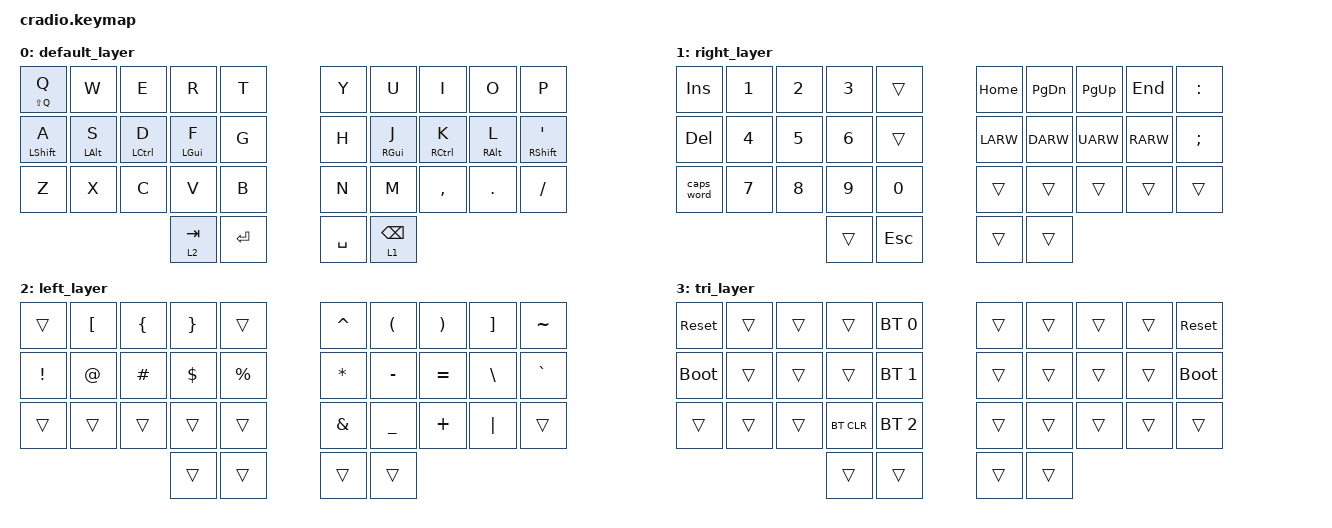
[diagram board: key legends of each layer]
// Copyright (c) 2022 The ZMK Contributors
// SPDX-License-Identifier: MIT

#include <behaviors.dtsi>
#include <dt-bindings/zmk/bt.h>
#include <dt-bindings/zmk/keys.h>

// Home row mods macro

#define HRML(k1,k2,k3,k4) &ht LSHFT k1  &ht LALT k2  &ht LCTRL k3  &ht LGUI k4
#define HRMR(k1,k2,k3,k4) &ht RGUI k1  &ht RCTRL k2  &ht RALT k3  &ht RSHFT k4

/ {
    behaviors {
        ht: hold_tap {
            compatible = "zmk,behavior-hold-tap";
            #binding-cells = <2>;
            flavor = "tap-preferred";
            tapping-term-ms = <220>;
            quick-tap-ms = <150>;
            require-prior-idle-ms = <100>;
            bindings = <&kp>, <&kp>;
        };
     as: auto_shift {
            compatible = "zmk,behavior-hold-tap";
            #binding-cells = <2>;
            tapping_term_ms = <135>;
            quick_tap_ms = <0>;
            flavor = "tap-preferred";
            bindings = <&kp>, <&kp>;
        };
    };

    conditional_layers {
        compatible = "zmk,conditional-layers";

        tri_layer {
            if-layers = <1 2>;
            then-layer = <3>;
        };
    };

    combos {
        compatible = "zmk,combos";

        esc {
            bindings = <&kp ESC>;
            key-positions = <1 0>;
        };

        tel {
            bindings = <&tel>;
            key-positions = <4 2 18>;
        };
    };

    macros {
        tel: tel {
            compatible = "zmk,behavior-macro";
            #binding-cells = <0>;
            bindings = <&kp N0 &kp N4 &kp N3 &kp N5 &kp N9 &kp N9 &kp N7 &kp N2 &kp N8 &kp N5>;
            label = "TEL";
        };
    };

    keymap {
        compatible = "zmk,keymap";

        default_layer {
            bindings = <
&as LS(Q) Q        &kp W       &kp E        &kp R       &kp T        &kp Y      &kp U       &kp I        &kp O       &kp P
&ht LSHFT A  &ht LALT S  &ht LCTRL D  &ht LGUI F  &kp G        &kp H      &ht RGUI J  &ht RCTRL K  &ht RALT L  &ht RSHFT SQT
&kp Z        &kp X       &kp C        &kp V       &kp B        &kp N      &kp M       &kp COMMA    &kp DOT     &kp FSLH
                                      &lt 2 TAB   &kp ENTER    &kp SPACE  &lt 1 BSPC
            >;
        };

        right_layer {
            bindings = <
&kp INS     &kp N1  &kp N2  &kp N3  &trans     &kp HOME  &kp PG_DN  &kp PG_UP  &kp END   &kp COLON
&kp DEL     &kp N4  &kp N5  &kp N6  &trans     &kp LARW  &kp DARW   &kp UARW   &kp RARW  &kp SEMI
&caps_word  &kp N7  &kp N8  &kp N9  &kp N0     &trans    &trans     &trans     &trans    &trans
                            &trans  &kp ESC    &trans    &trans
            >;
        };

        left_layer {
            bindings = <
&trans    &kp LBKT  &kp LBRC  &kp RBRC  &trans       &kp CARET  &kp LPAR   &kp RPAR   &kp RBKT  &kp TILDE
&kp EXCL  &kp AT    &kp HASH  &kp DLLR  &kp PRCNT    &kp ASTRK  &kp MINUS  &kp EQUAL  &kp BSLH  &kp GRAVE
&trans    &trans    &trans    &trans    &trans       &kp AMPS   &kp UNDER  &kp PLUS   &kp PIPE  &trans
                              &trans    &trans       &trans     &trans
            >;
        };

        tri_layer {
            bindings = <
&sys_reset   &trans  &trans  &trans      &bt BT_SEL 0    &trans  &trans  &trans  &trans  &sys_reset
&bootloader  &trans  &trans  &trans      &bt BT_SEL 1    &trans  &trans  &trans  &trans  &bootloader
&trans       &trans  &trans  &bt BT_CLR  &bt BT_SEL 2    &trans  &trans  &trans  &trans  &trans
                             &trans      &trans          &trans  &trans
            >;
        };
    };
};
